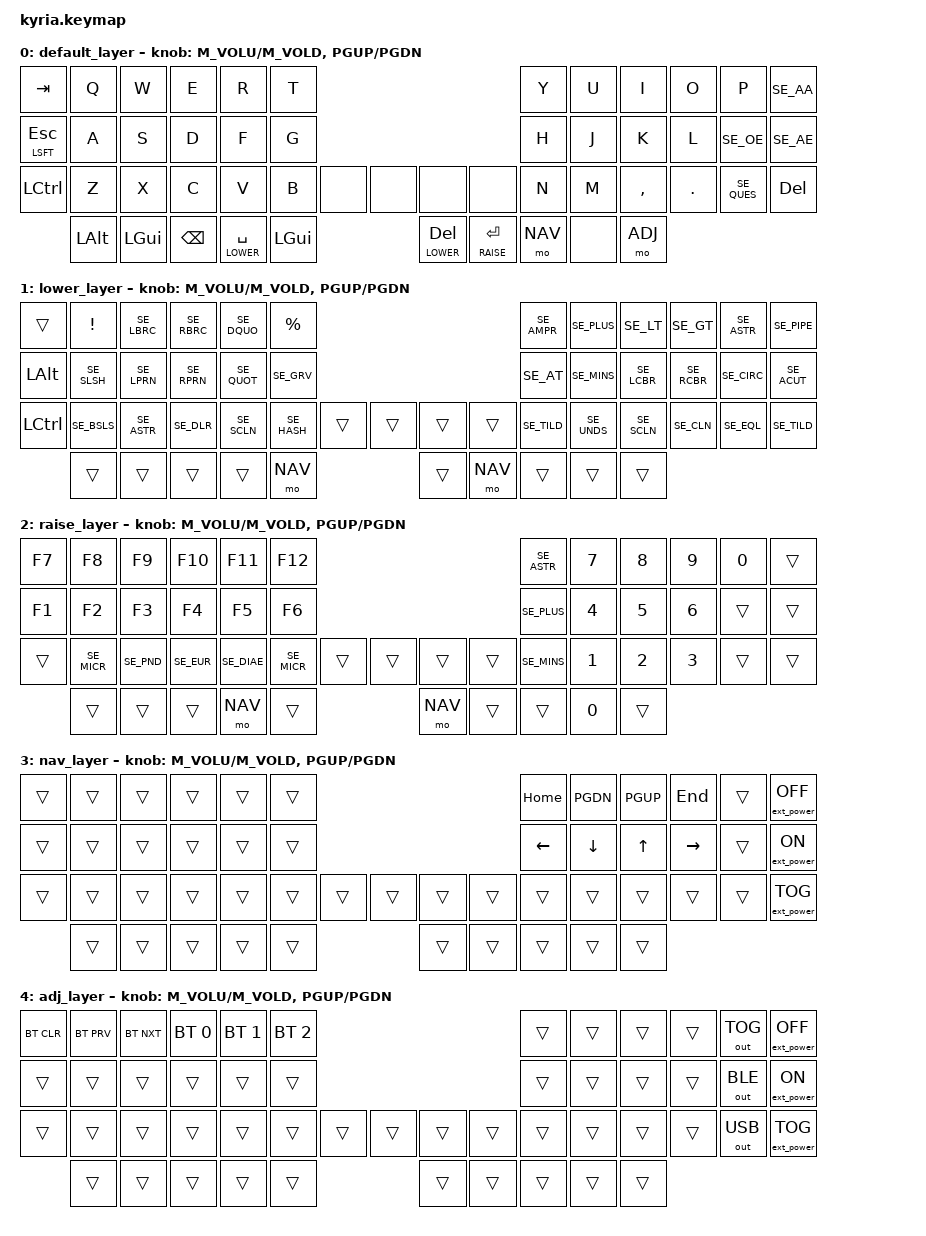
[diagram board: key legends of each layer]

/*
 * Copyright (c) 2020 The ZMK Contributors
 *
 * SPDX-License-Identifier: MIT
 */

#include <behaviors.dtsi>
#include <dt-bindings/zmk/bt.h>
#include <dt-bindings/zmk/keys.h>
#include <dt-bindings/zmk/outputs.h>
#include <dt-bindings/zmk/ext_power.h>
#include "keys-swedish.h"

#define DEFAULT 0
#define LOWER   1
#define RAISE   2
#define NAV     3
#define ADJ     4


        &lt {
            tapping_term_ms = <200>;
            flavor = "tap-preferred";
        };
        &mt {
            tapping_term_ms = <200>;
            flavor = "tap-preferred";
        };
/ {
    behaviors {
        hm: homerow_mods {
            compatible = "zmk,behavior-hold-tap";
            label = "homerow mods";
            #binding-cells = <2>;
            tapping_term_ms = <175>;
            flavor = "tap-preferred";
            bindings = <&kp>, <&kp>;
        };
    };
};


/ {


	keymap {
		compatible = "zmk,keymap";

		default_layer {
// ---------------------------------------------------------------------------------------------------------------------------------
// |  ESC  |  Q  |  W  |  E   |  R   |  T   |                                          |  Y   |  U    |  I    |  O   |   P   |   \  |
// |  TAB  |  A  |  S  |  D   |  F   |  G   |                                          |  H   |  J    |  K    |  L   |   ;   |   '  |
// | SHIFT |  Z  |  X  |  C   |  V   |  B   | L SHIFT | L SHIFT |  | L SHIFT | L SHIFT |  N   |  M    |  ,    |  .   |   /   | CTRL |
//                     | GUI  | DEL  | RET  |  SPACE  |   ESC   |  |   RET   |  SPACE  | TAB  | BSPC  | R-ALT |
			bindings = <
	&kp TAB       &kp Q      &kp W      &kp E      &kp R         &kp T                                                  &kp Y  &kp U  &kp I      &kp O    &kp P        &kp SE_AA
	&mt LSFT ESC  &kp A      &kp S      &kp D      &kp F         &kp G                                                  &kp H  &kp J  &kp K      &kp L    &kp SE_OE    &kp SE_AE
	&kp LCTL      &kp Z      &kp X      &kp C      &kp V         &kp B  &none &none        &none         &none          &kp N  &kp M  &kp COMMA  &kp DOT  &kp SE_QUES  &kp DEL
	              &kp LALT   &kp LGUI   &kp BKSP   &lt LOWER SPC &kp LGUI              &lt LOWER DEL &lt RAISE RET  &mo NAV &none &mo ADJ
			>;

			sensor-bindings = <&inc_dec_cp M_VOLU M_VOLD &inc_dec_kp PGUP PGDN>;
		};


		lower_layer {
			bindings = <
	&trans    &kp EXCL    &kp SE_LBRC &kp SE_RBRC &kp SE_DQUO &kp PRCNT                                        &kp SE_AMPR  &kp SE_PLUS  &kp SE_LT   &kp SE_GT   &kp SE_ASTR  &kp SE_PIPE
	&kp LALT  &kp SE_SLSH &kp SE_LPRN &kp SE_RPRN &kp SE_QUOT &kp SE_GRV                                       &kp SE_AT    &kp SE_MINS  &kp SE_LCBR &kp SE_RCBR &kp SE_CIRC  &kp SE_ACUT
	&kp LCTL  &kp SE_BSLS &kp SE_ASTR &kp SE_DLR  &kp SE_SCLN &kp SE_HASH &trans &trans          &trans &trans &kp SE_TILD  &kp SE_UNDS  &kp SE_SCLN &kp SE_CLN  &kp SE_EQL   &kp SE_TILD
	                                      &trans      &trans      &trans      &trans &mo NAV          &trans &mo NAV &trans      &trans      &trans
			>;

			sensor-bindings = <&inc_dec_cp M_VOLU M_VOLD &inc_dec_kp PGUP PGDN>;
		};


		raise_layer {
			bindings = <
	&kp F7     &kp F8      &kp F9     &kp F10      &kp F11      &kp F12                                       &kp SE_ASTR &kp N7  &kp N8  &kp N9  &kp N0 &trans
	&kp F1     &kp F2      &kp F3     &kp F4       &kp F5       &kp F6                                        &kp SE_PLUS &kp N4  &kp N5  &kp N6  &trans &trans
	&trans     &kp SE_MICR &kp SE_PND &kp SE_EUR   &kp SE_DIAE  &kp SE_MICR &trans &trans     &trans  &trans  &kp SE_MINS &kp N1  &kp N2  &kp N3  &trans &trans
	                                  &trans       &trans       &trans      &mo NAV &trans     &mo NAV  &trans  &trans &kp N0  &trans
			>;

			sensor-bindings = <&inc_dec_cp M_VOLU M_VOLD &inc_dec_kp PGUP PGDN>;
		};


		nav_layer {
			bindings = <
	&trans     &trans     &trans     &trans       &trans       &trans                                     &kp HOME &kp PGDN &kp PGUP &kp END   &trans &ext_power EP_OFF
    &trans     &trans     &trans     &trans       &trans       &trans                                     &kp LEFT &kp DOWN &kp UP   &kp RIGHT &trans &ext_power EP_ON
    &trans     &trans     &trans     &trans       &trans       &trans &trans &trans         &trans &trans &trans   &trans   &trans   &trans    &trans &ext_power EP_TOG
	                                 &trans       &trans       &trans &trans &trans         &trans &trans &trans   &trans   &trans
			>;

			sensor-bindings = <&inc_dec_cp M_VOLU M_VOLD &inc_dec_kp PGUP PGDN>;
		};


		adj_layer {
			bindings = <
                &bt BT_CLR &bt BT_PRV &bt BT_NXT &bt BT_SEL 0 &bt BT_SEL 1 &bt BT_SEL 2                   &trans &trans &trans &trans  &out OUT_TOG &ext_power EP_OFF
                &trans     &trans     &trans     &trans       &trans       &trans                         &trans &trans &trans &trans  &out OUT_BLE &ext_power EP_ON
    &trans     &trans     &trans     &trans       &trans       &trans &trans &trans         &trans &trans &trans &trans &trans &trans  &out OUT_USB &ext_power EP_TOG
	                                 &trans       &trans       &trans &trans &trans         &trans &trans &trans &trans &trans
			>;

			sensor-bindings = <&inc_dec_cp M_VOLU M_VOLD &inc_dec_kp PGUP PGDN>;
		};


	};
};
